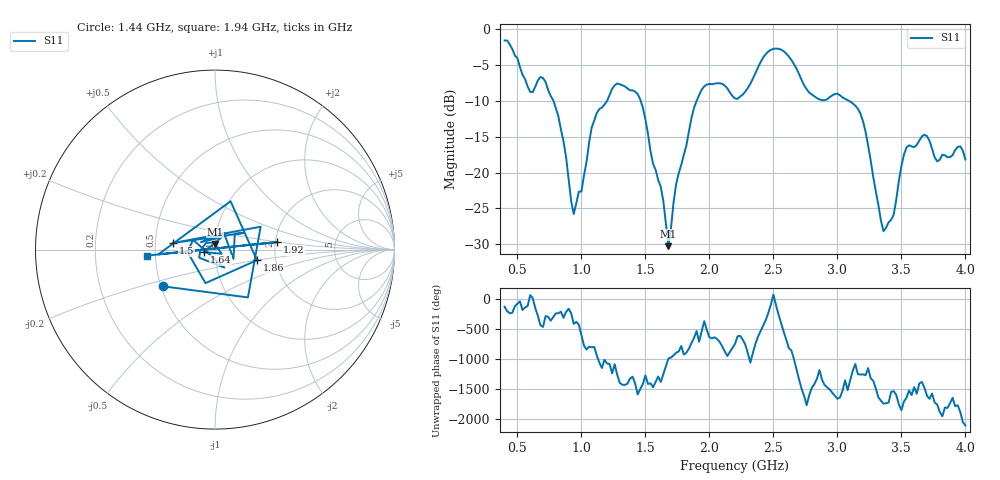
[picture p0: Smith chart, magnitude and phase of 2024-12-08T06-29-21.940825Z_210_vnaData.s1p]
!Created with skrf (http://scikit-rf.org).
# Hz S RI R 50.0
!freq ReS11 ImS11
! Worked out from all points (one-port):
!   181 points, 400 MHz to 4 GHz, reference 50 ohm
!   lowest |S11| = -30.3 dB at 1.68 GHz (marker M1), VSWR 1.06, Z = 49.9 + j3.06 ohm
!   |S11| at or under -10 dB: 782 MHz to 1.2 GHz (418.4 MHz wide, 42.2 % of centre); 1.464 GHz to 1.9 GHz (436.4 MHz wide, 25.9 % of centre); 3.091 GHz to end of sweep
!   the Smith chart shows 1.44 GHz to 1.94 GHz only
!   S11 on the Smith chart (normalised r, x): 1.44 GHz: 0.52, -0.24; 1.5 GHz: 0.62, +0.05; 1.64 GHz: 0.88, -0.02; 1.86 GHz: 1.59, -0.20; 1.92 GHz: 2.04, +0.20; 1.94 GHz: 0.45, -0.04
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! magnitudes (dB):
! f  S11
! 400 MHz  -1.5
! 600 MHz  -8.7
! 720 MHz  -7.3
! 860 MHz  -15.6
! 940 MHz  -25.8
! 1.12 GHz  -11.7
! 1.3 GHz  -7.7
! 1.44 GHz  -9.0
! 1.5 GHz  -12.6
! 1.64 GHz  -24.0
! 1.68 GHz  -30.3
! 1.76 GHz  -20.1
! 1.86 GHz  -12.4
! 1.92 GHz  -9.2
! 1.94 GHz  -8.4
! 2.2 GHz  -9.6
! 2.48 GHz  -2.9
! 2.66 GHz  -4.8
! 2.84 GHz  -9.6
! 3.1 GHz  -10.1
! 3.2 GHz  -12.8
! 3.36 GHz  -28.2
! 3.44 GHz  -25.9
! 3.5 GHz  -19.1
! 3.56 GHz  -16.2
! 3.68 GHz  -14.7
! 3.78 GHz  -18.4
! 4 GHz  -18.2
